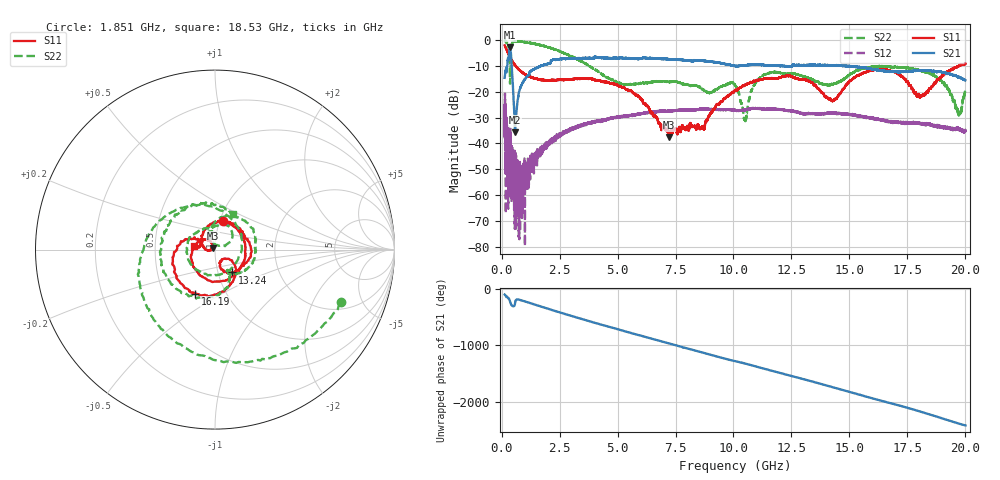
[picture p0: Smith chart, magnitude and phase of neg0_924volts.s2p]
!Created with skrf (http://scikit-rf.org).
# GHz S RI R 50.0
!freq ReS11 ImS11 ReS21 ImS21 ReS12 ImS12 ReS22 ImS22
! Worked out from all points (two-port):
!   20013 points, 130 MHz to 20 GHz, reference 50 ohm
!   highest |S21| = -2.78 dB at 370 MHz (marker M1); lowest = -35.6 dB at 581 MHz (marker M2)
!   |S21| within 3 dB of the highest: 315.3 MHz to 406.4 MHz (91.07 MHz wide, 25.2 % of centre)
!   lowest |S11| = -37.7 dB at 7.232 GHz (marker M3), VSWR 1.03, Z = 48.9 + j0.67 ohm
!   |S11| at or under -10 dB: 604.5 MHz to 19.71 GHz (19.11 GHz wide, 188 % of centre); 19.71701 GHz to 19.72014 GHz (3.129 MHz wide, 0.0159 % of centre); 19.7205 GHz to 19.72215 GHz (1.65 MHz wide, 0.00837 % of centre)
!   |S22| runs from -31.4 to -0.1 dB; largest |S21 - S12| = 0.72
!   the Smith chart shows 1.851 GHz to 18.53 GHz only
!   S11 on the Smith chart (normalised r, x): 1.851 GHz: 1.03, +0.34; 13.24 GHz: 1.17, -0.31; 16.19 GHz: 0.72, -0.38; 18.53 GHz: 0.78, +0.04
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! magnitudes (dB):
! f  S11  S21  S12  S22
! 130 MHz  -2.0  -14.6  -27.2  -0.2
! 370 MHz  -6.7  -2.8  -37.8  -14.9
! 581 MHz  -9.7  -35.6  -56.2  -0.4
! 977 MHz  -13.1  -15.4  -53.0  -0.7
! 1.851 GHz  -15.5  -9.6  -40.7  -2.4
! 3.442 GHz  -15.0  -7.0  -33.1  -8.3
! 5.572 GHz  -19.6  -7.1  -29.2  -17.1
! 6.754 GHz  -31.7  -7.2  -27.7  -16.1
! 7.232 GHz  -37.7  -7.5  -27.5  -16.2
! 8.66 GHz  -33.5  -8.0  -26.7  -18.9
! 10.06 GHz  -19.4  -10.0  -27.1  -17.5
! 10.5 GHz  -17.3  -9.8  -27.1  -31.1
! 11.26 GHz  -15.1  -9.6  -26.7  -13.8
! 13.24 GHz  -15.9  -9.7  -28.5  -14.7
! 13.38 GHz  -16.4  -9.6  -28.6  -15.2
! 14.31 GHz  -23.4  -9.8  -28.2  -17.1
! 16.19 GHz  -11.4  -11.5  -30.8  -10.1
! 16.69 GHz  -11.7  -12.1  -31.5  -10.3
! 17.97 GHz  -21.0  -11.7  -32.2  -11.5
! 18.53 GHz  -18.1  -12.0  -32.9  -13.1
! 19.74 GHz  -9.9  -14.4  -34.4  -28.5
! 20 GHz  -9.2  -15.6  -35.1  -19.4
